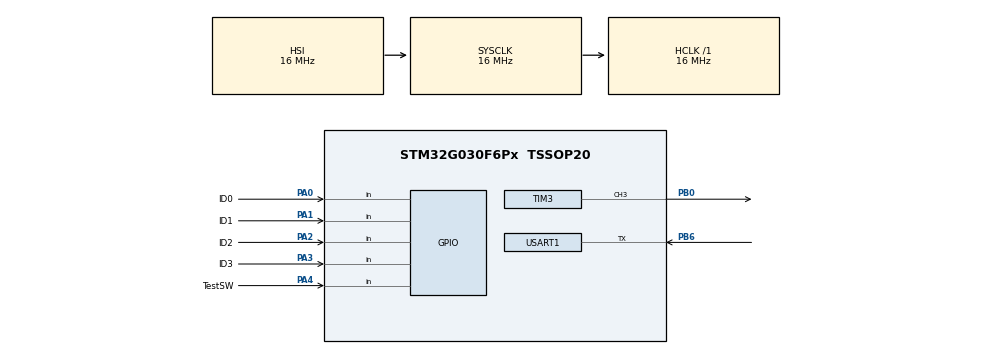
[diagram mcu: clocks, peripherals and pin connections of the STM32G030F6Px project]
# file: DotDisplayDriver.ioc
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Dma.Request0=TIM3_CH3
Dma.TIM3_CH3.0.Direction=DMA_MEMORY_TO_PERIPH
Dma.TIM3_CH3.0.EventEnable=DISABLE
Dma.TIM3_CH3.0.Instance=DMA1_Channel1
Dma.TIM3_CH3.0.MemDataAlignment=DMA_MDATAALIGN_HALFWORD
Dma.TIM3_CH3.0.MemInc=DMA_MINC_ENABLE
Dma.TIM3_CH3.0.Mode=DMA_NORMAL
Dma.TIM3_CH3.0.PeriphDataAlignment=DMA_PDATAALIGN_HALFWORD
Dma.TIM3_CH3.0.PeriphInc=DMA_PINC_DISABLE
Dma.TIM3_CH3.0.Polarity=HAL_DMAMUX_REQ_GEN_RISING
Dma.TIM3_CH3.0.Priority=DMA_PRIORITY_LOW
Dma.TIM3_CH3.0.RequestNumber=1
Dma.TIM3_CH3.0.SignalID=NONE
Dma.TIM3_CH3.0.SyncEnable=DISABLE
Dma.TIM3_CH3.0.SyncPolarity=HAL_DMAMUX_SYNC_NO_EVENT
Dma.TIM3_CH3.0.SyncRequestNumber=1
Dma.TIM3_CH3.0.SyncSignalID=NONE
Mcu.Family=STM32G0
Mcu.Name=STM32G030F6Px
Mcu.Package=TSSOP20
NVIC.DMA1_Channel1_IRQn=true\:0\:0\:false\:false\:true\:false\:true\:true
PA0.GPIO_Label=ID0
PA0.GPIO_PuPd=GPIO_PULLUP
PA0.Signal=GPIO_Input
PA1.GPIO_Label=ID1
PA1.GPIO_PuPd=GPIO_PULLUP
PA1.Signal=GPIO_Input
PA14-BOOT0__PA15.StandardMode=true
PA2.GPIO_Label=ID2
PA2.GPIO_PuPd=GPIO_PULLUP
PA2.Signal=GPIO_Input
PA3.GPIO_Label=ID3
PA3.GPIO_PuPd=GPIO_PULLUP
PA3.Signal=GPIO_Input
PA4.GPIO_Label=TestSW
PA4.GPIO_PuPd=GPIO_PULLUP
PA4.Signal=GPIO_Input
PB0.Signal=S_TIM3_CH3
PB0__PB1__PB2__PA8.StandardMode=true
PB3__PB4__PB5__PB6.StandardMode=true
PB6.Mode=Half_duplex(single_wire_mode)
PB6.Signal=USART1_TX
PB7__PB8.StandardMode=true
PC14-OSC32_IN\ (PC14)__PB9.StandardMode=true
ProjectManager.HeapSize=0x200
ProjectManager.StackSize=0x400
ProjectManager.TargetToolchain=STM32CubeIDE
RCC.AHBFreq_Value=16000000
RCC.CortexFreq_Value=16000000
RCC.EXTERNAL_CLOCK_VALUE=12288000
RCC.HCLKFreq_Value=16000000
RCC.HSE_VALUE=8000000
RCC.HSI_VALUE=16000000
RCC.LSE_VALUE=32768
RCC.SYSCLKFreq_VALUE=16000000
RCC.VCOOutputFreq_Value=128000000
SH.S_TIM3_CH3.0=TIM3_CH3,PWM Generation3 CH3
TIM3.Channel-PWM\ Generation3\ CH3=TIM_CHANNEL_3
TIM3.Period=19
USART1.Mode=MODE_RX
USART1.SwapParam=ADVFEATURE_SWAP_DISABLE
USART1.VirtualMode-Half_duplex(single_wire_mode)=VM_ASYNC
VP_TIM3_VS_ClockSourceINT.Mode=Internal
board=custom

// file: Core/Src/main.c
/* USER CODE BEGIN Header */
/**
  ******************************************************************************
  * @file           : main.c
  * @brief          : Main program body
  ******************************************************************************
  * @attention
  *
  * Copyright (c) 2024 STMicroelectronics.
  * All rights reserved.
  *
  * This software is licensed under terms that can be found in the LICENSE file
  * in the root directory of this software component.
  * If no LICENSE file comes with this software, it is provided AS-IS.
  *
  ******************************************************************************
  */
/* USER CODE END Header */
#include "main.h"

/* USER CODE BEGIN Includes */
#include "SerialComm.h"
#include "LightControl.h"
/* USER CODE END Includes */

TIM_HandleTypeDef htim3;
DMA_HandleTypeDef hdma_tim3_ch3;

UART_HandleTypeDef huart1;

void SystemClock_Config(void);
static void MX_GPIO_Init(void);
static void MX_DMA_Init(void);
static void MX_TIM3_Init(void);
static void MX_USART1_UART_Init(void);

int main(void)
{
  /* USER CODE BEGIN 1 */
  uint8_t nDeviceAddress = 0;
  /* USER CODE END 1 */

  /* MCU Configuration--------------------------------------------------------*/

  /* Reset of all peripherals, Initializes the Flash interface and the Systick. */
  HAL_Init();

  /* Configure the system clock */
  SystemClock_Config();

  /* Initialize all configured peripherals */
  MX_GPIO_Init();
  MX_DMA_Init();
  MX_TIM3_Init();
  MX_USART1_UART_Init();
  /* USER CODE BEGIN 2 */
  //Set device address
  if(!HAL_GPIO_ReadPin(GPIOA, ID0_Pin))
	  nDeviceAddress |= 0x01;

  if(!HAL_GPIO_ReadPin(GPIOA, ID1_Pin))
	  nDeviceAddress |= 0x02;

  if(!HAL_GPIO_ReadPin(GPIOA, ID2_Pin))
	  nDeviceAddress |= 0x04;

  if(!HAL_GPIO_ReadPin(GPIOA, ID3_Pin))
	  nDeviceAddress |= 0x08;

  SerialComm_SetDeviceAddress(nDeviceAddress);

  //Setup message handlers
  SerialComm_SetMessageHandler(MSG_TYPE_SET_BUFFER, LightControl_HandleSetBuffer);
  SerialComm_SetMessageHandler(MSG_TYPE_FLIP_BUFFER, LightControl_HandleFlipBuffer);

  //Setup light control
  LightControl_Init(&htim3, TIM_CHANNEL_3);
  /* USER CODE END 2 */

  /* Infinite loop */
  while (1)
  {

    /* USER CODE BEGIN 3 */
	SerialComm_Background();
	LightControl_Background();
  }
  /* USER CODE END 3 */
}

void SystemClock_Config(void)
{
  RCC_OscInitTypeDef RCC_OscInitStruct = {0};
  RCC_ClkInitTypeDef RCC_ClkInitStruct = {0};

  /** Configure the main internal regulator output voltage
  */
  HAL_PWREx_ControlVoltageScaling(PWR_REGULATOR_VOLTAGE_SCALE1);

  /** Initializes the RCC Oscillators according to the specified parameters
  * in the RCC_OscInitTypeDef structure.
  */
  RCC_OscInitStruct.OscillatorType = RCC_OSCILLATORTYPE_HSI;
  RCC_OscInitStruct.HSIState = RCC_HSI_ON;
  RCC_OscInitStruct.HSIDiv = RCC_HSI_DIV1;
  RCC_OscInitStruct.HSICalibrationValue = RCC_HSICALIBRATION_DEFAULT;
  RCC_OscInitStruct.PLL.PLLState = RCC_PLL_NONE;
  if (HAL_RCC_OscConfig(&RCC_OscInitStruct) != HAL_OK)
  {
    Error_Handler();
  }

  /** Initializes the CPU, AHB and APB buses clocks
  */
  RCC_ClkInitStruct.ClockType = RCC_CLOCKTYPE_HCLK|RCC_CLOCKTYPE_SYSCLK
                              |RCC_CLOCKTYPE_PCLK1;
  RCC_ClkInitStruct.SYSCLKSource = RCC_SYSCLKSOURCE_HSI;
  RCC_ClkInitStruct.AHBCLKDivider = RCC_SYSCLK_DIV1;
  RCC_ClkInitStruct.APB1CLKDivider = RCC_HCLK_DIV1;

  if (HAL_RCC_ClockConfig(&RCC_ClkInitStruct, FLASH_LATENCY_0) != HAL_OK)
  {
    Error_Handler();
  }
}

static void MX_TIM3_Init(void)
{

  TIM_ClockConfigTypeDef sClockSourceConfig = {0};
  TIM_MasterConfigTypeDef sMasterConfig = {0};
  TIM_OC_InitTypeDef sConfigOC = {0};

  htim3.Instance = TIM3;
  htim3.Init.Prescaler = 0;
  htim3.Init.CounterMode = TIM_COUNTERMODE_UP;
  htim3.Init.Period = 19;
  htim3.Init.ClockDivision = TIM_CLOCKDIVISION_DIV1;
  htim3.Init.AutoReloadPreload = TIM_AUTORELOAD_PRELOAD_DISABLE;
  if (HAL_TIM_Base_Init(&htim3) != HAL_OK)
  {
    Error_Handler();
  }
  sClockSourceConfig.ClockSource = TIM_CLOCKSOURCE_INTERNAL;
  if (HAL_TIM_ConfigClockSource(&htim3, &sClockSourceConfig) != HAL_OK)
  {
    Error_Handler();
  }
  if (HAL_TIM_PWM_Init(&htim3) != HAL_OK)
  {
    Error_Handler();
  }
  sMasterConfig.MasterOutputTrigger = TIM_TRGO_RESET;
  sMasterConfig.MasterSlaveMode = TIM_MASTERSLAVEMODE_DISABLE;
  if (HAL_TIMEx_MasterConfigSynchronization(&htim3, &sMasterConfig) != HAL_OK)
  {
    Error_Handler();
  }
  sConfigOC.OCMode = TIM_OCMODE_PWM1;
  sConfigOC.Pulse = 0;
  sConfigOC.OCPolarity = TIM_OCPOLARITY_HIGH;
  sConfigOC.OCFastMode = TIM_OCFAST_DISABLE;
  if (HAL_TIM_PWM_ConfigChannel(&htim3, &sConfigOC, TIM_CHANNEL_3) != HAL_OK)
  {
    Error_Handler();
  }
  HAL_TIM_MspPostInit(&htim3);

}

static void MX_USART1_UART_Init(void)
{

  huart1.Instance = USART1;
  huart1.Init.BaudRate = 115200;
  huart1.Init.WordLength = UART_WORDLENGTH_8B;
  huart1.Init.StopBits = UART_STOPBITS_1;
  huart1.Init.Parity = UART_PARITY_NONE;
  huart1.Init.Mode = UART_MODE_RX;
  huart1.Init.HwFlowCtl = UART_HWCONTROL_NONE;
  huart1.Init.OverSampling = UART_OVERSAMPLING_16;
  huart1.Init.OneBitSampling = UART_ONE_BIT_SAMPLE_DISABLE;
  huart1.Init.ClockPrescaler = UART_PRESCALER_DIV1;
  huart1.AdvancedInit.AdvFeatureInit = UART_ADVFEATURE_NO_INIT;
  if (HAL_HalfDuplex_Init(&huart1) != HAL_OK)
  {
    Error_Handler();
  }
  if (HAL_UARTEx_SetTxFifoThreshold(&huart1, UART_TXFIFO_THRESHOLD_1_8) != HAL_OK)
  {
    Error_Handler();
  }
  if (HAL_UARTEx_SetRxFifoThreshold(&huart1, UART_RXFIFO_THRESHOLD_1_8) != HAL_OK)
  {
    Error_Handler();
  }
  if (HAL_UARTEx_DisableFifoMode(&huart1) != HAL_OK)
  {
    Error_Handler();
  }

}

static void MX_DMA_Init(void)
{

  /* DMA controller clock enable */
  __HAL_RCC_DMA1_CLK_ENABLE();

  /* DMA interrupt init */
  /* DMA1_Channel1_IRQn interrupt configuration */
  HAL_NVIC_SetPriority(DMA1_Channel1_IRQn, 0, 0);
  HAL_NVIC_EnableIRQ(DMA1_Channel1_IRQn);

}

static void MX_GPIO_Init(void)
{
  GPIO_InitTypeDef GPIO_InitStruct = {0};

  /* GPIO Ports Clock Enable */
  __HAL_RCC_GPIOA_CLK_ENABLE();
  __HAL_RCC_GPIOB_CLK_ENABLE();

  /*Configure GPIO pins : ID0_Pin ID1_Pin ID2_Pin ID3_Pin
                           TestSW_Pin */
  GPIO_InitStruct.Pin = ID0_Pin|ID1_Pin|ID2_Pin|ID3_Pin
                          |TestSW_Pin;
  GPIO_InitStruct.Mode = GPIO_MODE_INPUT;
  GPIO_InitStruct.Pull = GPIO_PULLUP;
  HAL_GPIO_Init(GPIOA, &GPIO_InitStruct);

}

void Error_Handler(void)
{
  __disable_irq();
  while (1)
  {
  }
}
